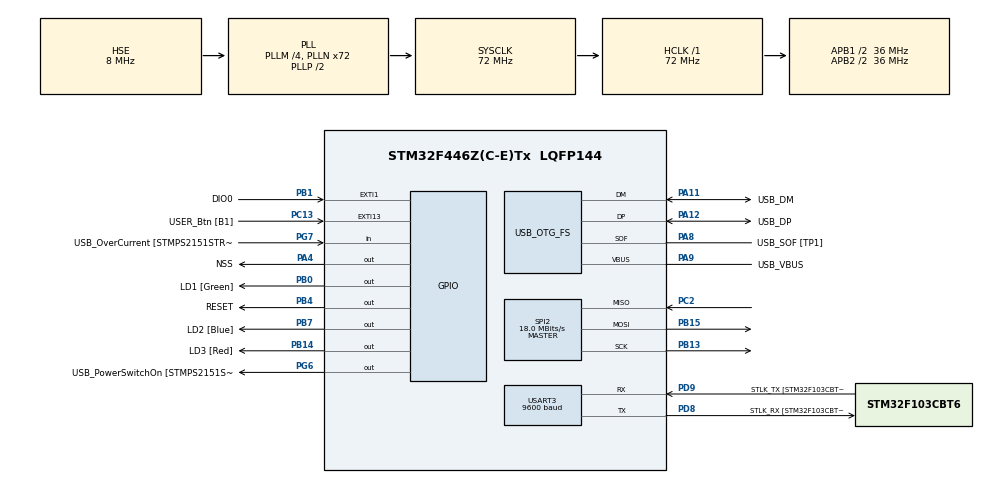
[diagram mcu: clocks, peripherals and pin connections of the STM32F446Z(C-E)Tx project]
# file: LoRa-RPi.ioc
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Mcu.Family=STM32F4
Mcu.Name=STM32F446Z(C-E)Tx
Mcu.Package=LQFP144
NVIC.EXTI1_IRQn=true\:0\:0\:false\:false\:true\:true\:true\:true
NVIC.PriorityGroup=NVIC_PRIORITYGROUP_4
NVIC.SPI2_IRQn=true\:0\:0\:false\:false\:true\:true\:true\:true
PA10.GPIO_Label=USB_ID
PA10.Signal=USB_OTG_FS_ID
PA11.GPIO_Label=USB_DM
PA11.Mode=Device_Only
PA11.Signal=USB_OTG_FS_DM
PA12.GPIO_Label=USB_DP
PA12.Mode=Device_Only
PA12.Signal=USB_OTG_FS_DP
PA13.GPIO_Label=TMS
PA13.Mode=Serial_Wire
PA13.Signal=SYS_JTMS-SWDIO
PA14.GPIO_Label=TCK
PA14.Mode=Serial_Wire
PA14.Signal=SYS_JTCK-SWCLK
PA4.GPIO_Label=NSS
PA4.PinState=GPIO_PIN_SET
PA4.Signal=GPIO_Output
PA8.GPIO_Label=USB_SOF [TP1]
PA8.Mode=Activate_SOF_FS
PA8.Signal=USB_OTG_FS_SOF
PA9.GPIO_Label=USB_VBUS
PA9.Mode=Activate_VBUS
PA9.Signal=USB_OTG_FS_VBUS
PB0.GPIO_Label=LD1 [Green]
PB0.Signal=GPIO_Output
PB1.GPIO_Label=DIO0
PB1.Signal=GPXTI1
PB13.Mode=Full_Duplex_Master
PB13.Signal=SPI2_SCK
PB14.GPIO_Label=LD3 [Red]
PB14.Signal=GPIO_Output
PB15.Mode=Full_Duplex_Master
PB15.Signal=SPI2_MOSI
PB4.GPIO_Label=RESET
PB4.PinState=GPIO_PIN_SET
PB4.Signal=GPIO_Output
PB7.GPIO_Label=LD2 [Blue]
PB7.Signal=GPIO_Output
PC13.GPIO_Label=USER_Btn [B1]
PC13.Signal=GPXTI13
PC14-OSC32_IN.Mode=LSE-External-Oscillator
PC14-OSC32_IN.Signal=RCC_OSC32_IN
PC15-OSC32_OUT.Mode=LSE-External-Oscillator
PC15-OSC32_OUT.Signal=RCC_OSC32_OUT
PC2.Mode=Full_Duplex_Master
PC2.Signal=SPI2_MISO
PD8.GPIO_Label=STLK_RX [STM32F103CBT6_PA3]
PD8.Mode=Asynchronous
PD8.Signal=USART3_TX
PD9.GPIO_Label=STLK_TX [STM32F103CBT6_PA2]
PD9.Mode=Asynchronous
PD9.Signal=USART3_RX
PG6.GPIO_Label=USB_PowerSwitchOn [STMPS2151STR_EN]
PG6.Signal=GPIO_Output
PG7.GPIO_Label=USB_OverCurrent [STMPS2151STR_FAULT]
PG7.Signal=GPIO_Input
PH0-OSC_IN.GPIO_Label=MCO [STM32F103CBT6_PA8]
PH0-OSC_IN.Mode=HSE-External-Clock-Source
PH0-OSC_IN.Signal=RCC_OSC_IN
PH1-OSC_OUT.Mode=HSE-External-Clock-Source
PH1-OSC_OUT.Signal=RCC_OSC_OUT
ProjectManager.HeapSize=0x200
ProjectManager.StackSize=0x400
ProjectManager.TargetToolchain=STM32CubeIDE
RCC.48MHZClocksFreq_Value=24000000
RCC.AHBFreq_Value=72000000
RCC.APB1CLKDivider=RCC_HCLK_DIV2
RCC.APB1Freq_Value=36000000
RCC.APB1TimFreq_Value=72000000
RCC.APB2CLKDivider=RCC_HCLK_DIV2
RCC.APB2Freq_Value=36000000
RCC.APB2TimFreq_Value=72000000
RCC.CortexFreq_Value=72000000
RCC.HCLKFreq_Value=72000000
RCC.HSE_VALUE=8000000
RCC.HSI_VALUE=16000000
RCC.PLLM=4
RCC.PLLMUL=RCC_PLL_MUL9
RCC.PLLN=72
RCC.PLLQ=3
RCC.PRESCALERUSB=RCC_USBCLKSOURCE_PLL_DIV1_5
RCC.SYSCLKFreq_VALUE=72000000
RCC.SYSCLKSource=RCC_SYSCLKSOURCE_PLLCLK
RCC.SYSCLKSourceVirtual=RCC_SYSCLKSOURCE_PLLCLK
RCC.USBFreq_Value=48000000
RCC.VCOOutputFreq_Value=144000000
SPI2.CalculateBaudRate=18.0 MBits/s
SPI2.Direction=SPI_DIRECTION_2LINES
SPI2.Mode=SPI_MODE_MASTER
SPI2.VirtualType=VM_MASTER
USART3.BaudRate=9600
USART3.VirtualMode=VM_ASYNC
USB_OTG_FS.VirtualMode=Device_Only
VP_RTC_VS_RTC_Activate.Mode=RTC_Enabled
board=NUCLEO-F446ZE

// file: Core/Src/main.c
/* USER CODE BEGIN Header */
/**
  ******************************************************************************
  * @file           : main.c
  * @brief          : Main program body
  ******************************************************************************
  * @attention
  *
  * Copyright (c) 2025 STMicroelectronics.
  * All rights reserved.
  *
  * This software is licensed under terms that can be found in the LICENSE file
  * in the root directory of this software component.
  * If no LICENSE file comes with this software, it is provided AS-IS.
  *
  ******************************************************************************
  */
/* USER CODE END Header */
#include "main.h"
#include "rtc.h"
#include "spi.h"
#include "usart.h"
#include "usb_otg.h"
#include "gpio.h"

/* USER CODE BEGIN Includes */
#include "string.h"
#include <stdio.h>
#include "SX1278.h"
/* USER CODE END Includes */

void SystemClock_Config(void);
/* USER CODE BEGIN PFP */
int _write(int file, char *ptr, int len) {
	for (int idx = 0; idx < len; idx++) {
			while(!(USART3 -> SR & USART_SR_TXE));
			USART3->DR = (uint8_t)ptr[idx];
	}
	return len;
}

RTC_TimeTypeDef sTime;
RTC_DateTypeDef sDate;

void get_timestamp_string(char *timestamp_str, uint32_t max_len)
{
  // Get current time and date from RTC
  HAL_RTC_GetTime(&hrtc, &sTime, RTC_FORMAT_BIN);
  HAL_RTC_GetDate(&hrtc, &sDate, RTC_FORMAT_BIN); // This is necessary after HAL_RTC_GetTime

  // Format the timestamp string as "YYYY-MM-DD HH:MM:SS"
  snprintf(timestamp_str, max_len, "%02d:%02d:%02d",
           sTime.Hours, sTime.Minutes, sTime.Seconds);
}
/* USER CODE END PFP */

/* USER CODE BEGIN 0 */
SX1278_hw_t SX1278_hw;
SX1278_t SX1278;

int ret;
int counter = 0;

char buffer[512];

int message_length;
int counter;
/* USER CODE END 0 */

int main(void)
{

  /* MCU Configuration--------------------------------------------------------*/

  /* Reset of all peripherals, Initializes the Flash interface and the Systick. */
  HAL_Init();

  /* Configure the system clock */
  SystemClock_Config();

  /* Initialize all configured peripherals */
  MX_GPIO_Init();
  MX_USART3_UART_Init();
  MX_USB_OTG_FS_PCD_Init();
  MX_SPI2_Init();
  MX_RTC_Init();
  /* USER CODE BEGIN 2 */
  //initialize LoRa module
		SX1278_hw.dio0.port = DIO0_GPIO_Port;
		SX1278_hw.dio0.pin = DIO0_Pin;
		SX1278_hw.nss.port = NSS_GPIO_Port;
		SX1278_hw.nss.pin = NSS_Pin;
		SX1278_hw.reset.port = RESET_GPIO_Port;
		SX1278_hw.reset.pin = RESET_Pin;
		SX1278_hw.spi = &hspi2;

		SX1278.hw = &SX1278_hw;

      	SX1278_hw_Reset(SX1278.hw);
      	SX1278_init(&SX1278, 433000000, SX1278_POWER_17DBM, SX1278_LORA_SF_12, SX1278_LORA_BW_500KHZ, SX1278_LORA_CR_4_5, SX1278_LORA_CRC_EN, 250);
      	ret = SX1278_LoRaEntryRx(&SX1278, 250, 2000);
      	printf("Done Configuring LoRa module\r\n");
  /* USER CODE END 2 */

  /* Infinite loop */
  while (1)
  {

    /* USER CODE BEGIN 3 */
	  HAL_Delay(50);
//	        uint8_t op_mode = SX1278_SPIRead(&SX1278, LR_RegOpMode);
//	        int8_t rssi = SX1278_RSSI_LoRa(&SX1278);
//	        int8_t snr = SX1278_SNR_LoRa(&SX1278);

//	        printf("Current Mode: 0x%02X, RSSI: %d dBm, SNR: %d dB\r\n", op_mode, rssi, snr);
	  	char timestamp[24]; // Buffer for time stamp string
//	  	printf("Waiting..%d\r\n", counter);
		ret = SX1278_LoRaRxPacket(&SX1278);
		if (ret > 0) {
			counter = 0;
			SX1278_read(&SX1278, (uint8_t*) buffer, ret);
				get_timestamp_string(timestamp, sizeof(timestamp));
			printf("%-8s : Content (%d): %s\r\n", timestamp, ret, buffer);
			ret = SX1278_LoRaEntryRx(&SX1278, 250, 2000);
		}
  }
  /* USER CODE END 3 */
}

void SystemClock_Config(void)
{
  RCC_OscInitTypeDef RCC_OscInitStruct = {0};
  RCC_ClkInitTypeDef RCC_ClkInitStruct = {0};

  /** Configure the main internal regulator output voltage
  */
  __HAL_RCC_PWR_CLK_ENABLE();
  __HAL_PWR_VOLTAGESCALING_CONFIG(PWR_REGULATOR_VOLTAGE_SCALE3);

  /** Initializes the RCC Oscillators according to the specified parameters
  * in the RCC_OscInitTypeDef structure.
  */
  RCC_OscInitStruct.OscillatorType = RCC_OSCILLATORTYPE_LSI|RCC_OSCILLATORTYPE_HSE;
  RCC_OscInitStruct.HSEState = RCC_HSE_BYPASS;
  RCC_OscInitStruct.LSEState = RCC_LSE_ON;
  RCC_OscInitStruct.LSIState = RCC_LSI_ON;
  RCC_OscInitStruct.PLL.PLLState = RCC_PLL_ON;
  RCC_OscInitStruct.PLL.PLLSource = RCC_PLLSOURCE_HSE;
  RCC_OscInitStruct.PLL.PLLM = 4;
  RCC_OscInitStruct.PLL.PLLN = 72;
  RCC_OscInitStruct.PLL.PLLP = RCC_PLLP_DIV2;
  RCC_OscInitStruct.PLL.PLLQ = 3;
  RCC_OscInitStruct.PLL.PLLR = 2;
  if (HAL_RCC_OscConfig(&RCC_OscInitStruct) != HAL_OK)
  {
    Error_Handler();
  }

  /** Initializes the CPU, AHB and APB buses clocks
  */
  RCC_ClkInitStruct.ClockType = RCC_CLOCKTYPE_HCLK|RCC_CLOCKTYPE_SYSCLK
                              |RCC_CLOCKTYPE_PCLK1|RCC_CLOCKTYPE_PCLK2;
  RCC_ClkInitStruct.SYSCLKSource = RCC_SYSCLKSOURCE_PLLCLK;
  RCC_ClkInitStruct.AHBCLKDivider = RCC_SYSCLK_DIV1;
  RCC_ClkInitStruct.APB1CLKDivider = RCC_HCLK_DIV2;
  RCC_ClkInitStruct.APB2CLKDivider = RCC_HCLK_DIV2;

  if (HAL_RCC_ClockConfig(&RCC_ClkInitStruct, FLASH_LATENCY_2) != HAL_OK)
  {
    Error_Handler();
  }
}

void Error_Handler(void)
{
  __disable_irq();
  while (1)
  {
  }
}
